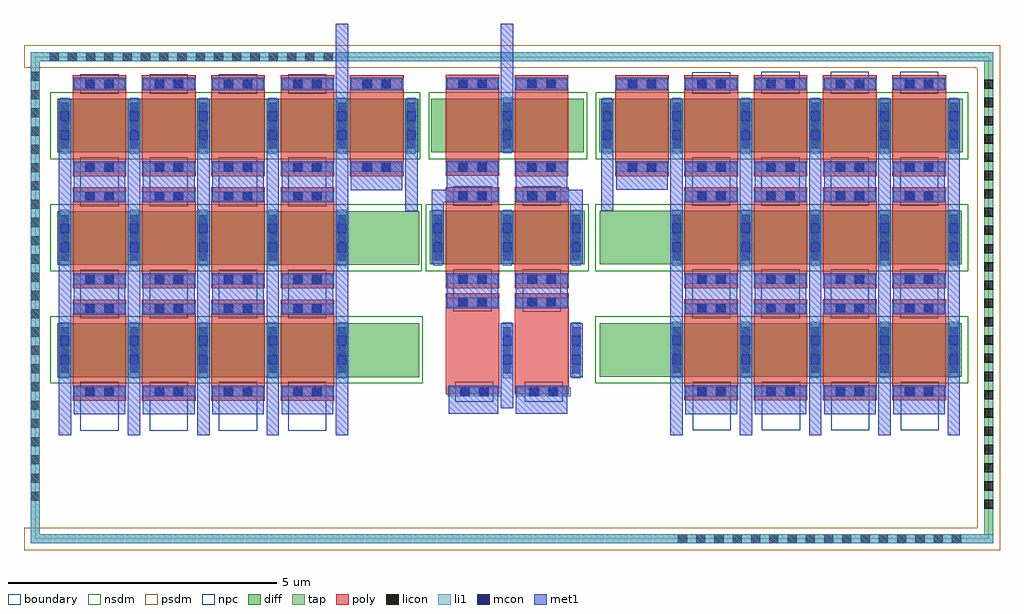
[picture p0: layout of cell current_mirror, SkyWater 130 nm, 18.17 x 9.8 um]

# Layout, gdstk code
import gdstk
lib = gdstk.Library(unit=1e-6, precision=1e-09)
def R(c, l, rs):  # rectangles x0, y0, x1, y1
    for r in rs: c.add(gdstk.rectangle(r[:2], r[2:], *l))
def A(c, l, x, y, w, h, nx, ny, dx, dy):  # array of equal rectangles
    R(c, l, [(x+i*dx, y+j*dy, x+i*dx+w, y+j*dy+h) for i in range(nx) for j in range(ny)])
diff = (65, 20)
tap = (65, 44)
poly = (66, 20)
licon = (66, 44)
li1 = (67, 20)
mcon = (67, 44)
met1 = (68, 20)
nsdm = (93, 44)
psdm = (94, 20)
npc = (95, 20)
boundary = (235, 4)

current_mirror = lib.new_cell('current_mirror')
R(current_mirror, diff, [(-3.292,23.379,3.455,24.379), (6.808,23.384,13.547,24.384), (-3.292,25.469,3.449,26.469), (3.651,25.474,6.536,26.474), (6.813,25.474,13.547,26.474), (-3.292,27.559,3.441,28.559), (3.678,27.559,6.51,28.559), (6.8,27.559,13.566,28.559)])
R(current_mirror, tap, [(-3.785,20.28,-3.615,29.429), (-3.615,20.28,14.137,20.45), (13.967,20.45,14.137,29.259), (-3.615,29.259,14.137,29.429)])
A(current_mirror, poly, -3.002, 22.939, 1, 1.88, 4, 3, 1.29, 2.09)
A(current_mirror, poly, 8.387, 22.944, 1, 1.88, 4, 2, 1.29, 2.09)
A(current_mirror, poly, 7.097, 27.119, 1, 1.88, 5, 1, 1.29, 0)
R(current_mirror, poly, [(3.941,23.055,4.941,24.935), (5.231,23.055,6.231,24.935), (3.941,25.034,4.941,26.914), (5.231,25.034,6.231,26.914), (2.159,27.119,3.159,28.999), (5.226,27.12,6.226,29), (3.941,27.124,4.941,29.004)])
A(current_mirror, licon, 8.267, 20.28, 0.17, 0.17, 16, 1, 0.34, 0)
A(current_mirror, licon, 13.967, 20.924, 0.17, 0.17, 1, 24, 0, 0.34)
A(current_mirror, licon, -3.785, 21.071, 0.17, 0.17, 1, 24, 0, 0.34)
A(current_mirror, licon, 5.001, 23.453, 0.17, 0.17, 1, 3, 0, 0.34)
A(current_mirror, licon, 6.291, 23.453, 0.17, 0.17, 1, 3, 0, 0.34)
A(current_mirror, licon, -3.232, 23.454, 0.17, 0.17, 5, 3, 1.29, 0.34)
A(current_mirror, licon, 8.157, 23.459, 0.17, 0.17, 5, 3, 1.29, 0.34)
A(current_mirror, licon, -3.232, 25.544, 0.17, 0.17, 5, 3, 1.29, 0.34)
A(current_mirror, licon, 3.711, 25.549, 0.17, 0.17, 3, 3, 1.29, 0.34)
A(current_mirror, licon, 8.157, 25.549, 0.17, 0.17, 5, 3, 1.29, 0.34)
A(current_mirror, licon, -3.232, 27.634, 0.17, 0.17, 5, 3, 1.29, 0.34)
A(current_mirror, licon, 3.219, 27.634, 0.17, 0.17, 1, 3, 0, 0.34)
A(current_mirror, licon, 6.867, 27.634, 0.17, 0.17, 6, 3, 1.29, 0.34)
A(current_mirror, licon, 5.001, 27.639, 0.17, 0.17, 1, 3, 0, 0.34)
A(current_mirror, licon, -3.431, 29.259, 0.17, 0.17, 16, 1, 0.34, 0)
R(current_mirror, licon, [(4.223,23.018,4.393,23.188), (4.563,23.018,4.733,23.188), (5.513,23.018,5.683,23.188), (5.853,23.018,6.023,23.188), (-2.757,23.019,-2.587,23.189), (-2.417,23.019,-2.247,23.189), (-1.467,23.019,-1.297,23.189), (-1.127,23.019,-0.957,23.189), (-0.177,23.019,-0.007,23.189), (0.163,23.019,0.333,23.189), (1.113,23.019,1.283,23.189), (1.453,23.019,1.623,23.189), (8.632,23.024,8.802,23.194), (8.972,23.024,9.142,23.194), (9.922,23.024,10.092,23.194), (10.262,23.024,10.432,23.194), (11.212,23.024,11.382,23.194), (11.552,23.024,11.722,23.194), (12.502,23.024,12.672,23.194), (12.842,23.024,13.012,23.194), (-2.757,24.569,-2.587,24.739), (-2.417,24.569,-2.247,24.739), (-1.467,24.569,-1.297,24.739), (-1.127,24.569,-0.957,24.739), (-0.177,24.569,-0.007,24.739), (0.163,24.569,0.333,24.739), (1.113,24.569,1.283,24.739), (1.453,24.569,1.623,24.739), (8.632,24.574,8.802,24.744), (8.972,24.574,9.142,24.744), (9.922,24.574,10.092,24.744), (10.262,24.574,10.432,24.744), (11.212,24.574,11.382,24.744), (11.552,24.574,11.722,24.744), (12.502,24.574,12.672,24.744), (12.842,24.574,13.012,24.744), (4.186,24.685,4.356,24.855), (4.526,24.685,4.696,24.855), (5.476,24.685,5.646,24.855), (5.816,24.685,5.986,24.855), (-2.757,25.109,-2.587,25.279), (-2.417,25.109,-2.247,25.279), (-1.467,25.109,-1.297,25.279), (-1.127,25.109,-0.957,25.279), (-0.177,25.109,-0.007,25.279), (0.163,25.109,0.333,25.279), (1.113,25.109,1.283,25.279), (1.453,25.109,1.623,25.279), (4.186,25.114,4.356,25.284), (4.526,25.114,4.696,25.284), (5.476,25.114,5.646,25.284), (5.816,25.114,5.986,25.284), (8.632,25.114,8.802,25.284), (8.972,25.114,9.142,25.284), (9.922,25.114,10.092,25.284), (10.262,25.114,10.432,25.284), (11.212,25.114,11.382,25.284), (11.552,25.114,11.722,25.284), (12.502,25.114,12.672,25.284), (12.842,25.114,13.012,25.284), (-2.757,26.659,-2.587,26.829), (-2.417,26.659,-2.247,26.829), (-1.467,26.659,-1.297,26.829), (-1.127,26.659,-0.957,26.829), (-0.177,26.659,-0.007,26.829), (0.163,26.659,0.333,26.829), (1.113,26.659,1.283,26.829), (1.453,26.659,1.623,26.829), (4.186,26.664,4.356,26.834), (4.526,26.664,4.696,26.834), (5.476,26.664,5.646,26.834), (5.816,26.664,5.986,26.834), (8.632,26.664,8.802,26.834), (8.972,26.664,9.142,26.834), (9.922,26.664,10.092,26.834), (10.262,26.664,10.432,26.834), (11.212,26.664,11.382,26.834), (11.552,26.664,11.722,26.834), (12.502,26.664,12.672,26.834), (12.842,26.664,13.012,26.834), (-2.757,27.199,-2.587,27.369), (-2.417,27.199,-2.247,27.369), (-1.467,27.199,-1.297,27.369), (-1.127,27.199,-0.957,27.369), (-0.177,27.199,-0.007,27.369), (0.163,27.199,0.333,27.369), (1.113,27.199,1.283,27.369), (1.453,27.199,1.623,27.369), (2.404,27.199,2.574,27.369), (2.744,27.199,2.914,27.369), (7.342,27.199,7.512,27.369), (7.682,27.199,7.852,27.369), (8.632,27.199,8.802,27.369), (8.972,27.199,9.142,27.369), (9.922,27.199,10.092,27.369), (10.262,27.199,10.432,27.369), (11.212,27.199,11.382,27.369), (11.552,27.199,11.722,27.369), (12.502,27.199,12.672,27.369), (12.842,27.199,13.012,27.369), (5.471,27.2,5.641,27.37), (5.811,27.2,5.981,27.37), (4.186,27.204,4.356,27.374), (4.526,27.204,4.696,27.374), (-2.757,28.749,-2.587,28.919), (-2.417,28.749,-2.247,28.919), (-1.467,28.749,-1.297,28.919), (-1.127,28.749,-0.957,28.919), (-0.177,28.749,-0.007,28.919), (0.163,28.749,0.333,28.919), (1.113,28.749,1.283,28.919), (1.453,28.749,1.623,28.919), (2.404,28.749,2.574,28.919), (2.744,28.749,2.914,28.919), (7.342,28.749,7.512,28.919), (7.682,28.749,7.852,28.919), (8.632,28.749,8.802,28.919), (8.972,28.749,9.142,28.919), (9.922,28.749,10.092,28.919), (10.262,28.749,10.432,28.919), (11.212,28.749,11.382,28.919), (11.552,28.749,11.722,28.919), (12.502,28.749,12.672,28.919), (12.842,28.749,13.012,28.919), (5.471,28.75,5.641,28.92), (5.811,28.75,5.981,28.92), (4.186,28.754,4.356,28.924), (4.526,28.754,4.696,28.924)])
A(current_mirror, li1, -3.002, 23.019, 1, 0.17, 4, 2, 1.29, 1.55)
A(current_mirror, li1, 8.387, 23.024, 1, 0.17, 4, 2, 1.29, 1.55)
A(current_mirror, li1, -3.232, 23.359, 0.17, 1.04, 5, 3, 1.29, 2.09)
A(current_mirror, li1, 8.157, 23.364, 0.17, 1.04, 5, 2, 1.29, 2.09)
A(current_mirror, li1, -3.002, 25.109, 1, 0.17, 4, 2, 1.29, 1.55)
A(current_mirror, li1, 8.387, 25.114, 1, 0.17, 4, 2, 1.29, 1.55)
A(current_mirror, li1, 3.711, 25.454, 0.17, 1.04, 3, 1, 1.29, 0)
A(current_mirror, li1, -3.002, 27.199, 1, 0.17, 4, 2, 1.29, 1.55)
A(current_mirror, li1, 7.097, 27.199, 1, 0.17, 5, 2, 1.29, 1.55)
A(current_mirror, li1, 6.867, 27.539, 0.17, 1.04, 6, 1, 1.29, 0)
R(current_mirror, li1, [(-3.785,20.28,-3.615,29.429), (-3.615,20.28,14.137,20.45), (3.978,23.018,4.978,23.188), (5.268,23.018,6.268,23.188), (5.001,23.358,5.171,24.398), (6.291,23.358,6.461,24.398), (3.941,24.685,4.941,24.855), (5.231,24.685,6.231,24.855), (3.941,25.114,4.941,25.284), (5.231,25.114,6.231,25.284), (3.941,26.664,4.941,26.834), (5.231,26.664,6.231,26.834), (2.159,27.199,3.159,27.369), (5.226,27.2,6.226,27.37), (3.941,27.204,4.941,27.374), (3.219,27.539,3.389,28.579), (5.001,27.544,5.171,28.584), (2.159,28.749,3.159,28.919), (5.226,28.75,6.226,28.92), (3.941,28.754,4.941,28.924), (-3.615,29.259,14.137,29.429)])
A(current_mirror, mcon, -3.232, 23.614, 0.17, 0.17, 5, 2, 1.29, 0.36)
A(current_mirror, mcon, 8.157, 23.619, 0.17, 0.17, 5, 2, 1.29, 0.36)
A(current_mirror, mcon, -3.232, 25.704, 0.17, 0.17, 5, 2, 1.29, 0.36)
A(current_mirror, mcon, 3.711, 25.709, 0.17, 0.17, 3, 2, 1.29, 0.36)
A(current_mirror, mcon, 8.157, 25.709, 0.17, 0.17, 5, 2, 1.29, 0.36)
A(current_mirror, mcon, -3.232, 27.794, 0.17, 0.17, 5, 2, 1.29, 0.36)
A(current_mirror, mcon, 6.867, 27.794, 0.17, 0.17, 6, 2, 1.29, 0.36)
R(current_mirror, mcon, [(4.213,23.018,4.383,23.188), (4.573,23.018,4.743,23.188), (5.503,23.018,5.673,23.188), (5.863,23.018,6.033,23.188), (-2.767,23.019,-2.597,23.189), (-2.407,23.019,-2.237,23.189), (-1.477,23.019,-1.307,23.189), (-1.117,23.019,-0.947,23.189), (-0.187,23.019,-0.017,23.189), (0.173,23.019,0.343,23.189), (1.103,23.019,1.273,23.189), (1.463,23.019,1.633,23.189), (8.622,23.024,8.792,23.194), (8.982,23.024,9.152,23.194), (9.912,23.024,10.082,23.194), (10.272,23.024,10.442,23.194), (11.202,23.024,11.372,23.194), (11.562,23.024,11.732,23.194), (12.492,23.024,12.662,23.194), (12.852,23.024,13.022,23.194), (5.001,23.613,5.171,23.783), (6.291,23.613,6.461,23.783), (5.001,23.973,5.171,24.143), (6.291,23.973,6.461,24.143), (-2.767,24.569,-2.597,24.739), (-2.407,24.569,-2.237,24.739), (-1.477,24.569,-1.307,24.739), (-1.117,24.569,-0.947,24.739), (-0.187,24.569,-0.017,24.739), (0.173,24.569,0.343,24.739), (1.103,24.569,1.273,24.739), (1.463,24.569,1.633,24.739), (8.622,24.574,8.792,24.744), (8.982,24.574,9.152,24.744), (9.912,24.574,10.082,24.744), (10.272,24.574,10.442,24.744), (11.202,24.574,11.372,24.744), (11.562,24.574,11.732,24.744), (12.492,24.574,12.662,24.744), (12.852,24.574,13.022,24.744), (4.176,24.685,4.346,24.855), (4.536,24.685,4.706,24.855), (5.466,24.685,5.636,24.855), (5.826,24.685,5.996,24.855), (-2.767,25.109,-2.597,25.279), (-2.407,25.109,-2.237,25.279), (-1.477,25.109,-1.307,25.279), (-1.117,25.109,-0.947,25.279), (-0.187,25.109,-0.017,25.279), (0.173,25.109,0.343,25.279), (1.103,25.109,1.273,25.279), (1.463,25.109,1.633,25.279), (4.176,25.114,4.346,25.284), (4.536,25.114,4.706,25.284), (5.466,25.114,5.636,25.284), (5.826,25.114,5.996,25.284), (8.622,25.114,8.792,25.284), (8.982,25.114,9.152,25.284), (9.912,25.114,10.082,25.284), (10.272,25.114,10.442,25.284), (11.202,25.114,11.372,25.284), (11.562,25.114,11.732,25.284), (12.492,25.114,12.662,25.284), (12.852,25.114,13.022,25.284), (-2.767,26.659,-2.597,26.829), (-2.407,26.659,-2.237,26.829), (-1.477,26.659,-1.307,26.829), (-1.117,26.659,-0.947,26.829), (-0.187,26.659,-0.017,26.829), (0.173,26.659,0.343,26.829), (1.103,26.659,1.273,26.829), (1.463,26.659,1.633,26.829), (4.176,26.664,4.346,26.834), (4.536,26.664,4.706,26.834), (5.466,26.664,5.636,26.834), (5.826,26.664,5.996,26.834), (8.622,26.664,8.792,26.834), (8.982,26.664,9.152,26.834), (9.912,26.664,10.082,26.834), (10.272,26.664,10.442,26.834), (11.202,26.664,11.372,26.834), (11.562,26.664,11.732,26.834), (12.492,26.664,12.662,26.834), (12.852,26.664,13.022,26.834), (-2.767,27.199,-2.597,27.369), (-2.407,27.199,-2.237,27.369), (-1.477,27.199,-1.307,27.369), (-1.117,27.199,-0.947,27.369), (-0.187,27.199,-0.017,27.369), (0.173,27.199,0.343,27.369), (1.103,27.199,1.273,27.369), (1.463,27.199,1.633,27.369), (2.394,27.199,2.564,27.369), (2.754,27.199,2.924,27.369), (7.332,27.199,7.502,27.369), (7.692,27.199,7.862,27.369), (8.622,27.199,8.792,27.369), (8.982,27.199,9.152,27.369), (9.912,27.199,10.082,27.369), (10.272,27.199,10.442,27.369), (11.202,27.199,11.372,27.369), (11.562,27.199,11.732,27.369), (12.492,27.199,12.662,27.369), (12.852,27.199,13.022,27.369), (5.461,27.2,5.631,27.37), (5.821,27.2,5.991,27.37), (4.176,27.204,4.346,27.374), (4.536,27.204,4.706,27.374), (3.219,27.794,3.389,27.964), (5.001,27.799,5.171,27.969), (3.219,28.154,3.389,28.324), (5.001,28.159,5.171,28.329), (-2.767,28.749,-2.597,28.919), (-2.407,28.749,-2.237,28.919), (-1.477,28.749,-1.307,28.919), (-1.117,28.749,-0.947,28.919), (-0.187,28.749,-0.017,28.919), (0.173,28.749,0.343,28.919), (1.103,28.749,1.273,28.919), (1.463,28.749,1.633,28.919), (2.394,28.749,2.564,28.919), (2.754,28.749,2.924,28.919), (7.332,28.749,7.502,28.919), (7.692,28.749,7.862,28.919), (8.622,28.749,8.792,28.919), (8.982,28.749,9.152,28.919), (9.912,28.749,10.082,28.919), (10.272,28.749,10.442,28.919), (11.202,28.749,11.372,28.919), (11.562,28.749,11.732,28.919), (12.492,28.749,12.662,28.919), (12.852,28.749,13.022,28.919), (5.461,28.75,5.631,28.92), (5.821,28.75,5.991,28.92), (4.176,28.754,4.346,28.924), (4.536,28.754,4.706,28.924)])
A(current_mirror, met1, -3.262, 22.293, 0.23, 3.176, 5, 1, 1.29, 0)
A(current_mirror, met1, 8.127, 22.293, 0.23, 3.181, 5, 1, 1.29, 0)
A(current_mirror, met1, -2.982, 22.683, 0.96, 0.536, 4, 1, 1.29, 0)
A(current_mirror, met1, 8.407, 22.683, 0.96, 0.541, 4, 1, 1.29, 0)
A(current_mirror, met1, -2.982, 24.539, 0.96, 0.23, 4, 3, 1.29, 2.09)
A(current_mirror, met1, 8.407, 24.544, 0.96, 0.23, 3, 1, 1.29, 0)
A(current_mirror, met1, -2.982, 24.769, 0.96, 0.54, 4, 1, 1.29, 0)
A(current_mirror, met1, 8.407, 24.774, 0.96, 0.54, 3, 1, 1.29, 0)
A(current_mirror, met1, -3.262, 25.469, 0.23, 1, 5, 1, 1.29, 0)
A(current_mirror, met1, 8.127, 25.474, 0.23, 1, 5, 1, 1.29, 0)
A(current_mirror, met1, 6.837, 26.474, 0.23, 2.085, 6, 1, 1.29, 0)
A(current_mirror, met1, 8.407, 26.634, 0.96, 0.23, 4, 1, 1.29, 0)
A(current_mirror, met1, -1.692, 26.859, 0.96, 0.54, 3, 1, 1.29, 0)
A(current_mirror, met1, 7.117, 26.864, 0.96, 0.535, 5, 1, 1.29, 0)
A(current_mirror, met1, 7.117, 28.719, 0.96, 0.23, 5, 1, 1.29, 0)
R(current_mirror, met1, [(5.246,22.691,6.206,23.218), (3.998,22.695,4.921,23.218), (4.971,22.795,5.201,24.378), (6.261,23.378,6.491,24.378), (12.277,24.544,13.237,25.313), (3.961,24.655,4.921,24.885), (5.251,24.655,6.211,24.885), (3.961,24.885,4.921,25.314), (5.251,24.885,6.211,25.314), (3.681,25.474,3.911,26.864), (4.971,25.474,5.201,26.474), (6.261,25.474,6.491,26.864), (-3.262,26.469,-3.032,28.555), (-1.972,26.469,-1.742,28.559), (-0.682,26.469,-0.452,28.555), (0.608,26.469,0.838,28.56), (1.897,26.469,2.127,29.954), (3.189,26.469,3.419,28.559), (3.681,26.634,4.921,26.864), (5.251,26.634,6.491,26.864), (2.179,26.859,3.139,27.399), (-2.982,26.862,-2.022,27.399), (3.961,26.864,4.921,27.404), (5.246,26.864,6.206,27.4), (4.971,27.559,5.201,29.954), (2.179,28.719,3.139,28.949), (5.246,28.72,6.206,28.95), (3.961,28.724,4.921,28.954)])
R(current_mirror, nsdm, [(-3.417,23.259,3.513,24.509), (6.723,23.259,13.672,24.509), (-3.417,25.349,3.502,26.599), (3.574,25.349,6.602,26.599), (6.725,25.349,13.672,26.599), (-3.417,27.434,3.469,28.684), (3.628,27.434,6.578,28.684), (6.734,27.434,13.672,28.684)])
R(current_mirror, psdm, [(-3.906,20.155,14.262,20.575), (13.842,20.575,14.262,29.134), (-3.907,29.134,14.262,29.554)])
A(current_mirror, npc, -2.857, 22.379, 0.71, 0.91, 4, 3, 1.29, 2.09)
A(current_mirror, npc, 8.54, 22.384, 0.71, 0.91, 4, 1, 1.29, 0)
A(current_mirror, npc, 8.532, 24.474, 0.71, 0.91, 4, 2, 1.29, 2.09)
A(current_mirror, npc, -2.857, 28.649, 0.71, 0.37, 4, 1, 1.29, 0)
R(current_mirror, npc, [(4.123,22.918,4.833,23.288), (5.413,22.918,6.123,23.288), (5.376,24.595,6.086,25.384), (4.086,24.604,4.796,25.384), (4.086,26.564,4.796,26.934), (5.376,26.564,6.086,26.934), (8.532,28.649,9.242,29.053), (9.822,28.649,10.532,29.061), (11.112,28.649,11.822,29.065), (12.402,28.649,13.112,29.061)])
R(current_mirror, boundary, [(-3.697,20.366,14.052,29.344)])

lib.write_gds('current_mirror.gds')
